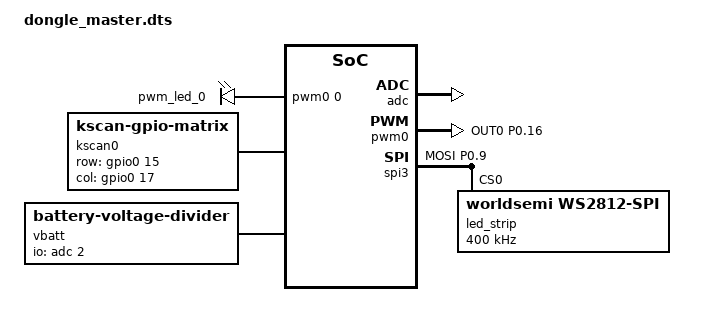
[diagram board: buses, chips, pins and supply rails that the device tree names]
/*
 * Copyright (c) 2023 ZitaoTech
 *
 * SPDX-License-Identifier: MIT
 */

#include "sofle_dongle.dtsi"
#include <zephyr/dt-bindings/input/input-event-codes.h>

/ {
    chosen {
        zmk,battery = &vbatt;
        zmk,backlight = &backlight;
        zmk,underglow = &led_strip;
    };

    backlight: pwmleds {
        compatible = "pwm-leds";
        pwm_led_0 {
            pwms = <&pwm0 0 PWM_MSEC(10) PWM_POLARITY_NORMAL>;
        };
    };

    kscan0: kscan {
        compatible = "zmk,kscan-gpio-matrix";
        diode-direction = "col2row";
        row-gpios
            = <&gpio0 15 (GPIO_ACTIVE_HIGH | GPIO_PULL_DOWN)>
            ;
        col-gpios
            = <&gpio0 17  GPIO_ACTIVE_HIGH>
            ;
    };


    vbatt: vbatt {
        compatible = "zmk,battery-voltage-divider";
        io-channels = <&adc 2>;
        output-ohms = <2000000>;
        full-ohms = <2820000>;  // 2000000 + 820000
    };
};


/ {
    split_inputs {
        #address-cells = <1>;
        #size-cells = <0>;

        trackpoint_split: trackpoint_split@0 {
            compatible = "zmk,input-split";
            reg = <0>;
        };
    };

};

/ {
    split_inputs {
        #address-cells = <1>;
        #size-cells = <0>;

        bbtrackpad_split: bbtrackpad_split@0 {
            compatible = "zmk,input-split";
            reg = <0>;
        };
    };

};

/ {
    split_inputs {
        #address-cells = <1>;
        #size-cells = <0>;

        bbtrackball_split: bbtrackball_split@0 {
            compatible = "zmk,input-split";
            reg = <0>;
        };
    };

};


/ {
    trackpoint_listener: trackpoint_listener {
        compatible = "zmk,input-listener";
        status = "disabled";
        device = <&trackpoint_split>;
    };
    bbtrackpad_listener: bbtrackpad_listener {
        compatible = "zmk,input-listener";
        status = "disabled";
        device = <&bbtrackpad_split>;
    };
    bbtrackball_listener: bbtrackball_listener {
        compatible = "zmk,input-listener";
        status = "disabled";
        device = <&bbtrackball_split>;
    };
};

/*
 * 三个指针 listener 都不挂 input-processors。
 *
 * 本分支的指针语义是「指针设备跟随层」：模式由驱动自己根据按住的键位决定
 * （默认滚轮，按住 mouse 层的拇指键切到鼠标移动），键位见各 shield 的 Kconfig。
 * main 那边的 zip_temp_layer 是反过来的「层跟随指针设备」（指针一动就临时把
 * 键盘顶到 mouse 层），ip_behaviors0~3 则是把驱动的 BTN 码翻成方向键——
 * 两者都不要，故此处只留 status。
 */
&trackpoint_listener {
    status = "okay";
};

&bbtrackpad_listener {
    status = "okay";
};

&bbtrackball_listener {
    status = "okay";
};


&adc {
    status = "okay";
};

&gpiote {
    status = "okay";
};

&gpio0 {
    status = "okay";
};

&gpio1 {
    status = "okay";
};

&pwm0 {
    status = "okay";
    pinctrl-0 = <&pwm0_default>;
    pinctrl-1 = <&pwm0_sleep>;
    pinctrl-names = "default", "sleep";
};




&pinctrl {

    pwm0_default:pwm0_default{
        group1{
            psels = <NRF_PSEL(PWM_OUT0, 0, 16)>; // Backlight for backlight.c unreal
        };
    };

    pwm0_sleep: pwm0_sleep {
        group1 {
            psels = <NRF_PSEL(PWM_OUT0, 0, 16)>;
            bias-pull-down;
        };
    };
    spi3_default: spi3_default {
        group1 {
            psels = <NRF_PSEL(SPIM_MOSI, 0, 9)>;    
        };
    };

    spi3_sleep: spi3_sleep {
        group1 {
            psels = <NRF_PSEL(SPIM_MOSI, 0, 9)>;
            low-power-enable;
        };
    };
};


&spi3 {
    compatible = "nordic,nrf-spim";
    status = "okay";

    pinctrl-0 = <&spi3_default>;
    pinctrl-1 = <&spi3_sleep>;
    pinctrl-names = "default", "sleep";

    led_strip: ws2812@0 {
        compatible = "worldsemi,ws2812-spi";
        /* SPI */
        reg = <0>; 
        spi-max-frequency = <400000>;
        /* WS2812 */
        chain-length = <1>; 
        spi-one-frame = <0x70>;
        spi-zero-frame = <0x40>;
        color-mapping = <LED_COLOR_ID_GREEN
                         LED_COLOR_ID_RED
                         LED_COLOR_ID_BLUE>;
    };
};
